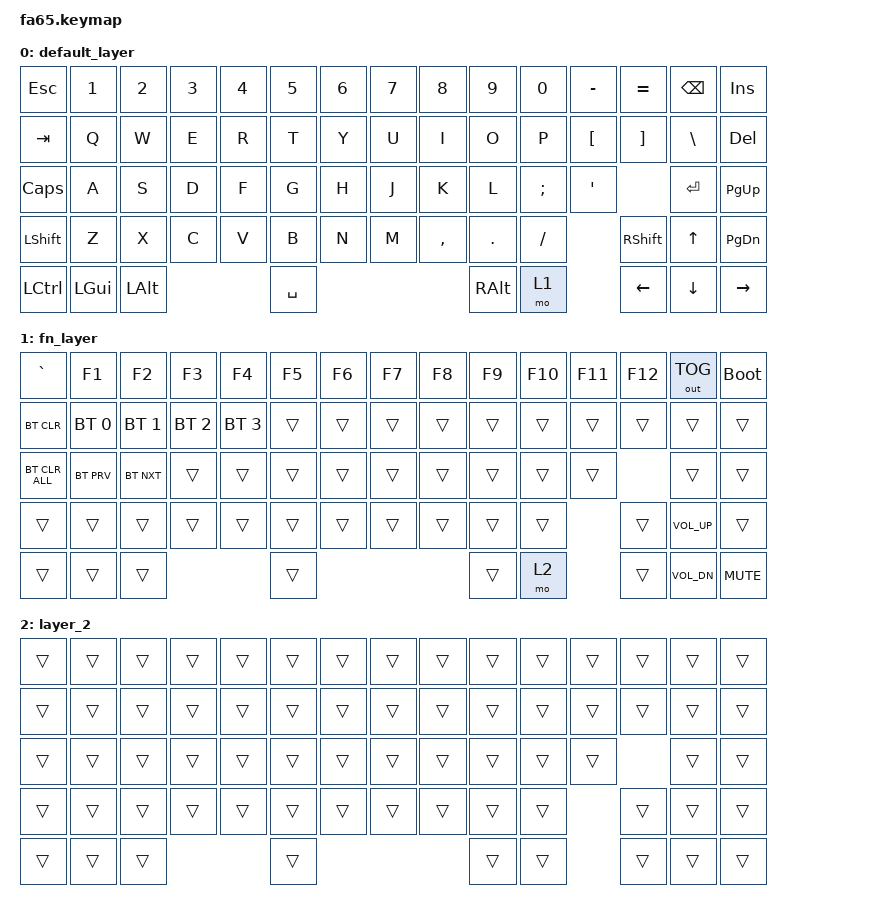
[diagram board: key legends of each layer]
/*
 * Copyright (c) 2020 The ZMK Contributors
 *
 * SPDX-License-Identifier: MIT
 */

#include <behaviors.dtsi>
#include <dt-bindings/zmk/bt.h>
#include <dt-bindings/zmk/keys.h>
#include <dt-bindings/zmk/outputs.h>

/ {
    keymap0: keymap {
        compatible = "zmk,keymap";

        default_layer {
            // ------------------------------------------------------------------------------------------
            // | ESC |  1  |  2  |  3  |  4  |  5  |  6  |  7  |  8  |  9  |  0  |  -  |  =  |   BKSP   |
            // | TAB  |  Q  |  W  |  E  |  R  |  T  |  Y  |  U  |  I  |  O  |  P  |  [  |  ]  |    \    |
            // | CAPS  |  A  |  S  |  D  |  F  |  G  |  H  |  J  |  K  |  L  |  ;  |  '  |     ENTER    |
            // |  SHIFT  |  Z  |  X  |  C  |  V  |  B  |  N  |  M  |  ,  |  .  |  /  |      SHIFT       |
            // |  CTL  |  WIN  |  ALT  |            SPACE               | ALT | MO(1) |  WIN  | CTRL    |
            // ------------------------------------------------------------------------------------------

            bindings = <
&kp ESC    &kp N1    &kp N2    &kp N3  &kp N4  &kp N5     &kp N6  &kp N7  &kp N8     &kp N9    &kp N0    &kp MINUS  &kp EQUAL  &kp BSPC  &kp INS
&kp TAB    &kp Q     &kp W     &kp E   &kp R   &kp T      &kp Y   &kp U   &kp I      &kp O     &kp P     &kp LBKT   &kp RBKT   &kp BSLH  &kp DEL
&kp CLCK   &kp A     &kp S     &kp D   &kp F   &kp G      &kp H   &kp J   &kp K      &kp L     &kp SEMI  &kp SQT               &kp RET   &kp PAGE_UP
&kp LSHFT  &kp Z     &kp X     &kp C   &kp V   &kp B      &kp N   &kp M   &kp COMMA  &kp DOT   &kp FSLH             &kp RSHFT  &kp UP    &kp PAGE_DOWN
&kp LCTRL  &kp LGUI  &kp LALT                  &kp SPACE                             &kp RALT  &mo 1                &kp LEFT   &kp DOWN  &kp RIGHT
            >;
        };

        fn_layer {
            bindings = <
&kp GRAVE       &kp F1        &kp F2        &kp F3        &kp F4        &kp F5  &kp F6  &kp F7  &kp F8  &kp F9  &kp F10  &kp F11  &kp F12  &out OUT_TOG  &bootloader
&bt BT_CLR      &bt BT_SEL 0  &bt BT_SEL 1  &bt BT_SEL 2  &bt BT_SEL 3  &trans  &trans  &trans  &trans  &trans  &trans   &trans   &trans   &trans        &trans
&bt BT_CLR_ALL  &bt BT_PRV    &bt BT_NXT    &trans        &trans        &trans  &trans  &trans  &trans  &trans  &trans   &trans            &trans        &trans
&trans          &trans        &trans        &trans        &trans        &trans  &trans  &trans  &trans  &trans  &trans            &trans   &kp C_VOL_UP  &trans
&trans          &trans        &trans                                    &trans                          &trans  &mo 2             &trans   &kp C_VOL_DN  &kp C_MUTE
            >;
        };

        layer_2 {
            bindings = <
&trans  &trans  &trans  &trans  &trans  &trans  &trans  &trans  &trans  &trans  &trans  &trans  &trans  &trans  &trans
&trans  &trans  &trans  &trans  &trans  &trans  &trans  &trans  &trans  &trans  &trans  &trans  &trans  &trans  &trans
&trans  &trans  &trans  &trans  &trans  &trans  &trans  &trans  &trans  &trans  &trans  &trans          &trans  &trans
&trans  &trans  &trans  &trans  &trans  &trans  &trans  &trans  &trans  &trans  &trans          &trans  &trans  &trans
&trans  &trans  &trans                  &trans                          &trans  &trans          &trans  &trans  &trans
            >;
        };
    };
};
